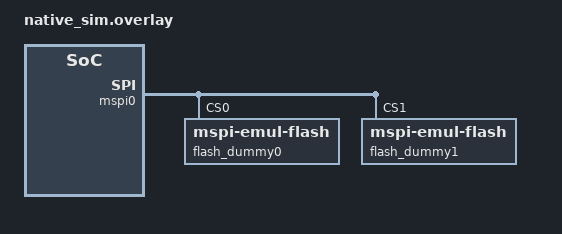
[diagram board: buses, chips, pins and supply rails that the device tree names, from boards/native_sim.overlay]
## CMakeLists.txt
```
# Copyright (c) 2024 Ambiq Micro Inc. <www.ambiq.com>
# SPDX-License-Identifier: Apache-2.0

cmake_minimum_required(VERSION 3.20.0)

find_package(Zephyr REQUIRED HINTS $ENV{ZEPHYR_BASE})
project(mspi_flash)

FILE(GLOB app_sources src/*.c)
target_sources(app PRIVATE ${app_sources})
```

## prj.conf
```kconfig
# Copyright (c) 2024 Ambiq Micro Inc. <www.ambiq.com>
# SPDX-License-Identifier: Apache-2.0

CONFIG_ZTEST=y
CONFIG_FLASH=y
CONFIG_FLASH_INIT_PRIORITY=70
```

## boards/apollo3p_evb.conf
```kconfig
# Copyright (c) 2024 Ambiq Micro Inc. <www.ambiq.com>
# SPDX-License-Identifier: Apache-2.0

CONFIG_FLASH_MSPI_ATXP032=y
CONFIG_MSPI_INIT_PRIORITY=40
CONFIG_FLASH_INIT_PRIORITY=50
CONFIG_PM_DEVICE=y
```

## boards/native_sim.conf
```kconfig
# Copyright (c) 2024 Ambiq Micro Inc. <www.ambiq.com>
# SPDX-License-Identifier: Apache-2.0

CONFIG_EMUL=y
CONFIG_FLASH_MSPI_EMUL_DEVICE=y
```

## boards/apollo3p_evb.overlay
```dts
/*
 * Copyright (c) 2024 Ambiq Micro Inc. <www.ambiq.com>
 * SPDX-License-Identifier: Apache-2.0
 */

/ {
	aliases {
		mspi0 = &mspi1;
	};
};

&gpio32_63 {
	status = "okay";
};

&mspi1 {

	compatible = "ambiq,mspi-controller";
	pinctrl-0 = <&mspi1_default>;
	pinctrl-1 = <&mspi1_sleep>;
	pinctrl-2 = <&mspi1_flash>;
	pinctrl-names = "default","sleep","flash";
	status = "okay";

	ce-gpios = <&gpio32_63 18 GPIO_ACTIVE_LOW>;

	cmdq-buffer-location = ".mspi_buff";
	cmdq-buffer-size = <256>;

	atxp032: atxp032@0 {
		compatible = "ambiq,mspi-device", "mspi-atxp032";
		size = <DT_SIZE_M(32)>;
		reg = <0>;
		status = "okay";
		mspi-max-frequency = <48000000>;
		mspi-io-mode = "MSPI_IO_MODE_OCTAL";
		mspi-data-rate = "MSPI_DATA_RATE_SINGLE";
		mspi-hardware-ce-num = <0>;
		read-command = <0x0B>;
		write-command = <0x02>;
		command-length = "INSTR_1_BYTE";
		address-length = "ADDR_4_BYTE";
		rx-dummy = <8>;
		tx-dummy = <0>;
		xip-config = <1 0 0 0>;
		ce-break-config = <0 0>;
		ambiq,timing-config-mask = <3>;
		ambiq,timing-config = <0 8 0 0 0 0 0 0>;
	};

};

&pinctrl {

	mspi1_sleep: mspi1_sleep{
		group1 {
			pinmux = <GPIO_P51>,
				 <GPIO_P52>,
				 <GPIO_P53>,
				 <GPIO_P54>,
				 <GPIO_P55>,
				 <GPIO_P56>,
				 <GPIO_P57>,
				 <GPIO_P58>,
				 <GPIO_P59>,
				 <GPIO_P69>,
				 <GPIO_P50>;
		};
	};

	mspi1_flash: mspi1_flash{

		group1 {
			pinmux = <MSPI1_0_P51>,
				 <MSPI1_1_P52>,
				 <MSPI1_2_P53>,
				 <MSPI1_3_P54>,
				 <MSPI1_4_P55>,
				 <MSPI1_5_P56>,
				 <MSPI1_6_P57>,
				 <MSPI1_7_P58>;
			drive-strength = "0.75";
			ambiq,iom-mspi = <0>;
			ambiq,iom-num = <1>;
		};

		group2 {
			pinmux = <MSPI1_8_P59>;
			drive-strength = "0.75";
			ambiq,iom-mspi = <0>;
			ambiq,iom-num = <2>;
		};

		group3 {
			pinmux = <NCE50_P50>;
			drive-strength = "1.0";
			ambiq,iom-mspi = <0>;
			ambiq,iom-num = <1>;
		};

		group4 {
			pinmux = <GPIO_P69>;
		};

	};

};
```

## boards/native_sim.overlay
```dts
/*
 * Copyright (c) 2024 Ambiq Micro Inc. <www.ambiq.com>
 *
 * SPDX-License-Identifier: Apache-2.0
 */

/ {
	aliases {
		mspi0 = &mspi0;
	};
};

&mspi0 {

	ce-gpios = <&gpio0 5 GPIO_ACTIVE_LOW>,
		   <&gpio0 18 GPIO_ACTIVE_LOW>;
	dqs-support;
	software-multiperipheral;

	flash_dummy0: flash_dummy0@0 {
		status = "okay";
		compatible = "zephyr,mspi-emul-flash";
		reg = <0x0>;
		size = <DT_SIZE_K(8*8)>;
		mspi-max-frequency = <48000000>;
		mspi-io-mode = "MSPI_IO_MODE_QUAD";
		mspi-data-rate = "MSPI_DATA_RATE_SINGLE";
		mspi-hardware-ce-num = <0>;
		read-command = <0x0B>;
		write-command = <0x02>;
		command-length = "INSTR_1_BYTE";
		address-length = "ADDR_4_BYTE";
		rx-dummy = <8>;
		tx-dummy = <0>;
	};

	flash_dummy1: flash_dummy1@1 {
		status = "okay";
		compatible = "zephyr,mspi-emul-flash";
		reg = <0x1>;
		size = <DT_SIZE_K(8*8)>;
		mspi-max-frequency = <96000000>;
		mspi-io-mode = "MSPI_IO_MODE_OCTAL";
		mspi-data-rate = "MSPI_DATA_RATE_DUAL";
		mspi-hardware-ce-num = <1>;
		mspi-dqs-enable;
		read-command = <0x20>;
		write-command = <0xAA>;
		command-length = "INSTR_2_BYTE";
		address-length = "ADDR_3_BYTE";
		rx-dummy = <6>;
		tx-dummy = <5>;
		xip-config = <1 0 0 0>;
		ce-break-config = <1024 4>;
	};

};
```

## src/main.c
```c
/*
 * Copyright (c) 2024 Ambiq Micro Inc. <www.ambiq.com>
 * SPDX-License-Identifier: Apache-2.0
 */

#include <zephyr/device.h>
#include <zephyr/drivers/mspi.h>
#include <zephyr/drivers/mspi_emul.h>
#include <zephyr/drivers/flash.h>
#include <zephyr/ztest.h>

#define MSPI_BUS_NODE                 DT_ALIAS(mspi0)

#define MSPI_FLASH_TEST_REGION_OFFSET 0x0

#define MSPI_FLASH_SECTOR_SIZE        4096

#define MSPI_FLASH_TEST_SIZE          3000

static const struct device *mspi_devices[] = {
	DT_FOREACH_CHILD_STATUS_OKAY_SEP(MSPI_BUS_NODE, DEVICE_DT_GET, (,))
};

static uint8_t expected[MSPI_FLASH_TEST_SIZE];
static uint8_t actual[MSPI_FLASH_TEST_SIZE];

static void prepare_test_pattern(uint32_t pattern_index, uint8_t *actualf, uint32_t len)
{
	uint32_t *pui32TxPtr = (uint32_t *)actualf;
	uint8_t *pui8TxPtr = (uint8_t *)actualf;

	switch (pattern_index) {
	case 0:
		/* 0x5555AAAA */
		for (uint32_t i = 0; i < len / 4; i++) {
			pui32TxPtr[i] = (0x5555AAAA);
		}
		break;
	case 1:
		/*  0xFFFF0000 */
		for (uint32_t i = 0; i < len / 4; i++) {
			pui32TxPtr[i] = (0xFFFF0000);
		}
		break;
	case 2:
		/* walking */
		for (uint32_t i = 0; i < len; i++) {
			pui8TxPtr[i] = 0x01 << (i % 8);
		}
		break;
	case 3:
		/* incremental from 1 */
		for (uint32_t i = 0; i < len; i++) {
			pui8TxPtr[i] = ((i + 1) & 0xFF);
		}
		break;
	case 4:
		/* decremental from 0xff */
		for (uint32_t i = 0; i < len; i++) {
			/* decrement starting from 0xff */
			pui8TxPtr[i] = (0xff - i) & 0xFF;
		}
		break;
	default:
		/* incremental from 1 */
		for (uint32_t i = 0; i < len; i++) {
			pui8TxPtr[i] = ((i + 1) & 0xFF);
		}
		break;
	}
}

static int test_multi_sector_rw(const struct device *flash_dev)
{
	int rc = 0;
	const struct flash_pages_layout *layout = NULL;
	size_t layout_size = 0;
	size_t min_page_size = -1;
	size_t offs;

	TC_PRINT("\n===================================================================\n");
	TC_PRINT("Perform test on multiple consequtive sectors on %s\n", flash_dev->name);

	TC_PRINT("\nTest 0: Get Flash page layout\n");

	const struct flash_driver_api *api = flash_dev->api;

	api->page_layout(flash_dev, &layout, &layout_size);

	if (layout && layout_size) {
		TC_PRINT("----pages-------size----\n");
		for (int i = 0; i < layout_size; ++i) {
			TC_PRINT("%2d: 0x%-8X  0x%-8x\n", i, layout[i].pages_count,
				 layout[i].pages_size);
			min_page_size = MIN(min_page_size, layout[i].pages_size);
		}
	} else {
		TC_PRINT("Empty flash_pages_layout!\n");
		return TC_FAIL;
	}

	TC_PRINT("\nPage size selected: %d\n", min_page_size);

	for (int i = 0; i < MSPI_FLASH_TEST_SIZE; i += min_page_size) {
		prepare_test_pattern(i % 5, expected + i,
				     MIN(min_page_size, MSPI_FLASH_TEST_SIZE - i));
	}

	TC_PRINT("\nTest 1: Flash erase\n");

	/* Full flash erase if MSPI_FLASH_TEST_REGION_OFFSET = 0 and
	 * MSPI_FLASH_SECTOR_SIZE = flash size
	 * Erase 2 sectors for check for erase of consequtive sectors
	 */
	rc = flash_erase(flash_dev, MSPI_FLASH_TEST_REGION_OFFSET, MSPI_FLASH_SECTOR_SIZE * 2);
	if (rc != 0) {
		TC_PRINT("Flash erase failed! %d\n", rc);
		return TC_FAIL;
	}
	/* Read the content and check for erased */
	memset(actual, 0, MSPI_FLASH_TEST_SIZE);

	offs = MSPI_FLASH_TEST_REGION_OFFSET;
	while (offs < MSPI_FLASH_TEST_REGION_OFFSET + 2 * MSPI_FLASH_SECTOR_SIZE) {
		rc = flash_read(flash_dev, offs, actual, MSPI_FLASH_TEST_SIZE);
		if (rc != 0) {
			TC_PRINT("Flash read failed! %d\n", rc);
			return TC_FAIL;
		}
		if (actual[0] != 0xff) {
			TC_PRINT("Flash erase failed at offset 0x%x got 0x%x\n", offs,
					actual[0]);
			return TC_FAIL;
		}
		offs += MSPI_FLASH_SECTOR_SIZE;
	}
	TC_PRINT("Flash erase succeeded!\n");

	TC_PRINT("\nTest 2: Flash write\n");

	offs = MSPI_FLASH_TEST_REGION_OFFSET;
	while (offs < MSPI_FLASH_TEST_REGION_OFFSET + 2 * MSPI_FLASH_SECTOR_SIZE) {
		TC_PRINT("\nAttempting to write %zu bytes at offset 0x%x\n", MSPI_FLASH_TEST_SIZE,
			 offs);
		rc = flash_write(flash_dev, offs, expected, MSPI_FLASH_TEST_SIZE);
		if (rc != 0) {
			TC_PRINT("Flash write failed! %d\n", rc);
			return TC_FAIL;
		}

		memset(actual, 0, MSPI_FLASH_TEST_SIZE);
		rc = flash_read(flash_dev, offs, actual, MSPI_FLASH_TEST_SIZE);
		if (rc != 0) {
			TC_PRINT("Flash read failed! %d\n", rc);
			return TC_FAIL;
		}

		if (memcmp(expected, actual, MSPI_FLASH_TEST_SIZE) == 0) {
			TC_PRINT("Data read matches data written. Good!!\n");
		} else {
			const uint8_t *wp = expected;
			const uint8_t *rp = actual;
			const uint8_t *rpe = rp + MSPI_FLASH_TEST_SIZE;
			int count = 0;

			TC_PRINT("Data read does not match data written!!\n");
			while (rp < rpe) {
				if (*rp != *wp) {
					TC_PRINT("%08x wrote %02x read %02x MISMATCH\n",
						 (uint32_t)(offs + (rp - actual)), *wp, *rp);
					count++;
				}
				if (count > 100) {
					TC_PRINT("Too many data mismatch!!\n");
					break;
				}
				++rp;
				++wp;
			}
			return TC_FAIL;
		}
		offs += MSPI_FLASH_SECTOR_SIZE;
	}

	return TC_PASS;
}

ZTEST(mspi_flash, test_multi_sector_rw)
{

	for (int idx = 0; idx < ARRAY_SIZE(mspi_devices); ++idx) {

		zassert_true(device_is_ready(mspi_devices[idx]),
					     "flash%d is not ready", idx);
		zassert_true(test_multi_sector_rw(mspi_devices[idx]) == TC_PASS);

	}

}

ZTEST_SUITE(mspi_flash, NULL, NULL, NULL, NULL, NULL);
```
